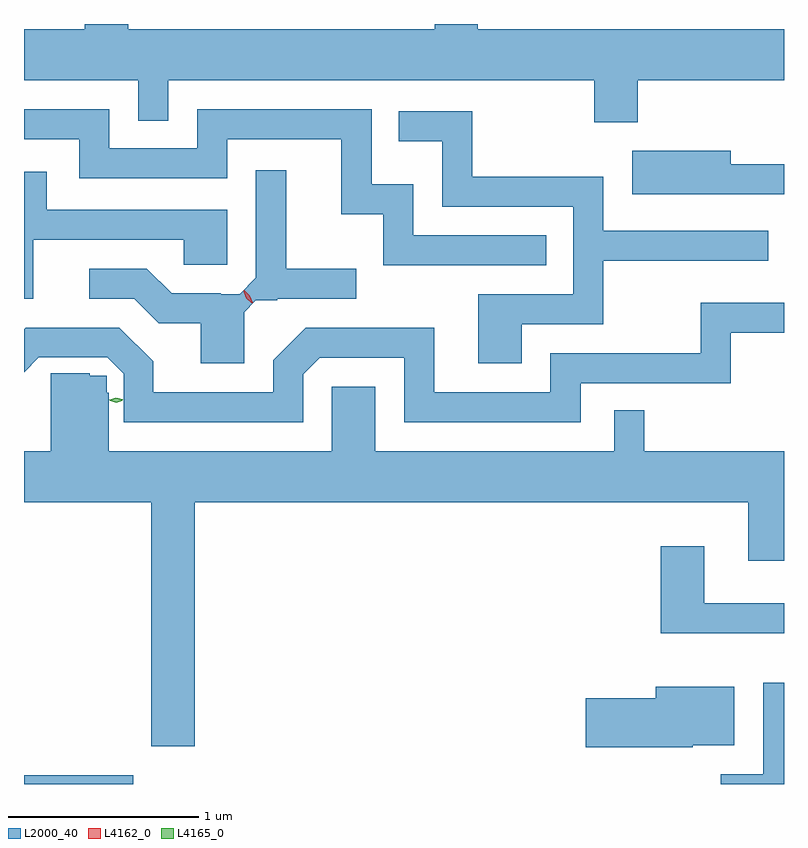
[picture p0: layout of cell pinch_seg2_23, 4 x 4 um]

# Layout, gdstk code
import gdstk
lib = gdstk.Library(unit=1e-6, precision=1e-09)
def R(c, l, rs):  # rectangles x0, y0, x1, y1
    for r in rs: c.add(gdstk.rectangle(r[:2], r[2:], *l))
def P(c, l, *ps):  # polygons
    for p in ps: c.add(gdstk.Polygon(p, *l))
L2000_40 = (2000, 40)
L4162_0 = (4162, 0)
L4165_0 = (4165, 0)

pinch_seg2_23 = lib.new_cell('pinch_seg2_23')
R(pinch_seg2_23, L2000_40, [(1686.79,1055.712,1687.364,1055.759)])
P(pinch_seg2_23, L2000_40, [(1690.019,1059.416),(1690.79,1059.416),(1690.79,1059.684),(1689.179,1059.684),(1689.179,1059.712),(1688.951,1059.712),(1688.951,1059.684),(1687.339,1059.684),(1687.339,1059.712),(1687.111,1059.712),(1687.111,1059.684),(1686.79,1059.684),(1686.79,1059.416),(1687.391,1059.416),(1687.391,1059.203),(1687.549,1059.203),(1687.549,1059.416),(1689.791,1059.416),(1689.791,1059.196),(1690.019,1059.196)],
  [(1689.538,1058.599),(1688.839,1058.599),(1688.839,1058.869),(1688.619,1058.869),(1688.619,1059.264),(1687.701,1059.264),(1687.701,1059.059),(1687.239,1059.059),(1687.239,1059.264),(1686.79,1059.264),(1686.79,1059.106),(1687.081,1059.106),(1687.081,1058.901),(1687.859,1058.901),(1687.859,1059.106),(1688.461,1059.106),(1688.461,1058.711),(1688.681,1058.711),(1688.681,1058.441),(1689.538,1058.441)],
  [(1689.409,1058.131),(1689.839,1058.131),(1689.839,1058.466),(1690.708,1058.466),(1690.708,1058.624),(1689.839,1058.624),(1689.839,1058.909),(1689.149,1058.909),(1689.149,1059.254),(1688.763,1059.254),(1688.763,1059.096),(1688.991,1059.096),(1688.991,1058.751),(1689.681,1058.751),(1689.681,1058.289),(1689.181,1058.289),(1689.181,1057.926),(1689.409,1057.926)],
  [(1690.79,1058.974),(1690.509,1058.974),(1690.509,1059.044),(1689.991,1059.044),(1689.991,1058.816),(1690.79,1058.816)],
  [(1687.949,1058.196),(1688.01,1058.257),(1688.123,1058.257),(1688.123,1058.266),(1688.538,1058.266),(1688.538,1058.424),(1688.169,1058.424),(1688.169,1058.943),(1688.011,1058.943),(1688.011,1058.376),(1687.925,1058.29),(1687.825,1058.29),(1687.825,1058.294),(1687.567,1058.294),(1687.437,1058.424),(1687.133,1058.424),(1687.133,1058.266),(1687.369,1058.266),(1687.499,1058.136),(1687.721,1058.136),(1687.721,1057.926),(1687.949,1057.926)],
  [(1686.839,1058.576),(1687.631,1058.576),(1687.631,1058.446),(1687.859,1058.446),(1687.859,1058.734),(1686.909,1058.734),(1686.909,1058.934),(1686.79,1058.934),(1686.79,1058.266),(1686.839,1058.266)],
  [(1688.259,1057.869),(1688.347,1057.956),(1688.791,1057.956),(1688.791,1057.616),(1689.719,1057.616),(1689.719,1057.821),(1690.509,1057.821),(1690.509,1058.086),(1690.79,1058.086),(1690.79,1058.244),(1690.351,1058.244),(1690.351,1057.979),(1689.561,1057.979),(1689.561,1057.774),(1688.949,1057.774),(1688.949,1058.114),(1688.274,1058.114),(1688.101,1057.942),(1688.101,1057.774),(1687.469,1057.774),(1687.469,1057.937),(1687.292,1058.114),(1686.799,1058.114),(1686.79,1058.105),(1686.79,1057.88),(1686.867,1057.957),(1687.229,1057.957),(1687.315,1057.87),(1687.315,1057.616),(1688.259,1057.616)],
  [(1687.689,1057.196),(1690.601,1057.196),(1690.601,1056.886),(1690.79,1056.886),(1690.79,1057.464),(1690.054,1057.464),(1690.054,1057.678),(1689.896,1057.678),(1689.896,1057.464),(1688.639,1057.464),(1688.639,1057.804),(1688.411,1057.804),(1688.411,1057.464),(1687.235,1057.464),(1687.235,1057.772),(1687.225,1057.772),(1687.225,1057.86),(1687.135,1057.86),(1687.135,1057.873),(1686.932,1057.873),(1686.932,1057.772),(1686.931,1057.772),(1686.931,1057.464),(1686.79,1057.464),(1686.79,1057.196),(1687.461,1057.196),(1687.461,1055.911),(1687.689,1055.911)],
  [(1690.79,1056.664),(1690.369,1056.664),(1690.369,1056.964),(1690.141,1056.964),(1690.141,1056.506),(1690.79,1056.506)],
  [(1690.79,1056.244),(1690.681,1056.244),(1690.681,1055.764),(1690.456,1055.764),(1690.456,1055.712),(1690.79,1055.712)],
  [(1690.31,1055.916),(1690.529,1055.916),(1690.529,1056.224),(1690.116,1056.224),(1690.116,1056.164),(1689.746,1056.164),(1689.746,1055.906),(1690.31,1055.906)])
P(pinch_seg2_23, L4162_0, [(1687.987,1058.246),(1687.959,1058.268),(1687.946,1058.302),(1687.946,1058.303),(1687.947,1058.303),(1687.975,1058.28),(1687.988,1058.247),(1687.988,1058.246)],
  [(1687.994,1058.243),(1687.994,1058.243),(1687.963,1058.271),(1687.947,1058.31),(1687.947,1058.311),(1687.948,1058.311),(1687.979,1058.283),(1687.995,1058.244)])
P(pinch_seg2_23, L4165_0, [(1687.275,1057.725),(1687.24,1057.733),(1687.239,1057.734),(1687.24,1057.734),(1687.274,1057.745),(1687.31,1057.736),(1687.31,1057.736),(1687.31,1057.735)],
  [(1687.276,1057.719),(1687.243,1057.728),(1687.242,1057.728),(1687.243,1057.729),(1687.275,1057.74),(1687.308,1057.731),(1687.308,1057.731),(1687.308,1057.73)])

lib.write_gds('pinch_seg2_23.gds')
